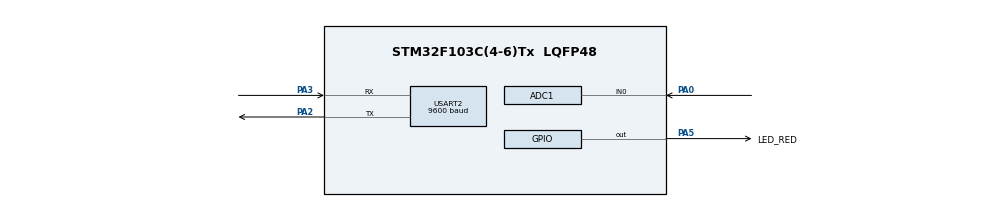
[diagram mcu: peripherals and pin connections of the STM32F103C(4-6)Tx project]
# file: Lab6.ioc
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ADC1.Channel-0\#ChannelRegularConversion=ADC_CHANNEL_0
ADC1.ContinuousConvMode=ENABLE
ADC1.NbrOfConversionFlag=1
ADC1.Rank-0\#ChannelRegularConversion=1
ADC1.SamplingTime-0\#ChannelRegularConversion=ADC_SAMPLETIME_1CYCLE_5
ADC1.master=1
Mcu.Family=STM32F1
Mcu.Name=STM32F103C(4-6)Tx
Mcu.Package=LQFP48
NVIC.PriorityGroup=NVIC_PRIORITYGROUP_4
NVIC.TIM2_IRQn=true\:0\:0\:false\:false\:true\:true\:true
NVIC.USART2_IRQn=true\:0\:0\:false\:false\:true\:true\:true
PA0-WKUP.Signal=ADCx_IN0
PA2.Mode=Asynchronous
PA2.Signal=USART2_TX
PA3.Mode=Asynchronous
PA3.Signal=USART2_RX
PA5.GPIO_Label=LED_RED
PA5.Signal=GPIO_Output
PD0-OSC_IN.Mode=HSE-External-Oscillator
PD0-OSC_IN.Signal=RCC_OSC_IN
PD1-OSC_OUT.Mode=HSE-External-Oscillator
PD1-OSC_OUT.Signal=RCC_OSC_OUT
ProjectManager.HeapSize=0x200
ProjectManager.StackSize=0x400
ProjectManager.TargetToolchain=STM32CubeIDE
RCC.APB1Freq_Value=8000000
RCC.APB2Freq_Value=8000000
SH.ADCx_IN0.0=ADC1_IN0,IN0
TIM2.Period=99
TIM2.Prescaler=799
USART2.BaudRate=9600
USART2.VirtualMode=VM_ASYNC
VP_SYS_VS_ND.Mode=No_Debug
VP_TIM2_VS_ClockSourceINT.Mode=Internal
board=custom

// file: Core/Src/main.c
/* USER CODE BEGIN Header */
/**
  ******************************************************************************
  * @file           : main.c
  * @brief          : Main program body
  ******************************************************************************
  * @attention
  *
  * <h2><center>&copy; Copyright (c) 2021 STMicroelectronics.
  * All rights reserved.</center></h2>
  *
  * This software component is licensed by ST under BSD 3-Clause license,
  * the "License"; You may not use this file except in compliance with the
  * License. You may obtain a copy of the License at:
  *                        opensource.org/licenses/BSD-3-Clause
  *
  ******************************************************************************
  */
/* USER CODE END Header */
#include "main.h"

/* USER CODE BEGIN Includes */
#include "timer.h"
#include "command_parser.h"
#include "uart_communication.h"
/* USER CODE END Includes */

/* USER CODE BEGIN PD */
#define MAX_BUFFER_SIZE	30
/* USER CODE END PD */

ADC_HandleTypeDef hadc1;

TIM_HandleTypeDef htim2;

UART_HandleTypeDef huart2;

void SystemClock_Config(void);
static void MX_GPIO_Init(void);
static void MX_TIM2_Init(void);
static void MX_ADC1_Init(void);
static void MX_USART2_UART_Init(void);

/* USER CODE BEGIN 0 */

uint8_t sendData[] = "Hello\r\n";
uint8_t	endline[] = "\r\n";
uint32_t adcValue = 0;
uint8_t	receiveBuffer = 0;

uint8_t temp = 0; //1 byte
uint8_t buffer[MAX_BUFFER_SIZE];
uint8_t index_buffer = 0;
uint8_t buffer_flag = 0;
void HAL_UART_RxCpltCallback(UART_HandleTypeDef *huart){

	if (huart->Instance == USART2) {
		//TODO HERE
		//gui nguoc lai len terminal
		HAL_UART_Transmit(huart, &temp, 1, 50);
		buffer[index_buffer++] = temp;
		if (index_buffer == MAX_BUFFER_SIZE) index_buffer = 0;
		buffer_flag = 1;

		//ENABLE LAI INTERRUPT
		HAL_UART_Receive_IT(&huart2, &temp, 1);
	}

}

/* USER CODE END 0 */

int main(void)
{

  /* MCU Configuration--------------------------------------------------------*/

  /* Reset of all peripherals, Initializes the Flash interface and the Systick. */
  HAL_Init();

  /* Configure the system clock */
  SystemClock_Config();

  /* Initialize all configured peripherals */
  MX_GPIO_Init();
  MX_TIM2_Init();
  MX_ADC1_Init();
  MX_USART2_UART_Init();
  /* USER CODE BEGIN 2 */
  HAL_TIM_Base_Start_IT(&htim2);
  HAL_ADC_Start(&hadc1);
  /* USER CODE END 2 */

  /* Infinite loop */
  /* USER CODE BEGIN WHILE */
  //phai dat truoc while 1. no se cho, khi co tin hieu, no se vao ham callback
  //sau do goi lai receive IT de ngat lan nua.
  HAL_UART_Receive_IT(&huart2, &temp, 1);
  initTimer(1);
  initTimer(0);
  while (1)
  {
	  //lay tra tri ADC bang ham HAL_ADC_GetValue(). ham nay tra ve 1 unin32_t
	  //de su dung ham nay, phai init ADC.
//	  adcValue = HAL_ADC_GetValue(&hadc1);
//	  //https://fresh2refresh.com/c-programming/c-type-casting/c-itoa-function/
//	  //dung itoa de chuyen integer sang char array
//	  itoa(adcValue, buffer, 10);
//	  HAL_UART_Transmit(&huart2, sendData, sizeof(sendData), sizeof(sendData) * 10);
//	  HAL_UART_Transmit(&huart2, buffer, sizeof(buffer), sizeof(buffer) * 10);
//	  HAL_UART_Transmit(&huart2, endline, sizeof(endline), sizeof(endline) * 10);
//
//	  //dung cai nay tot hon.
//	  HAL_UART_Transmit(&huart2, (void *)str, sprintf(str, "%d\n", adcValue), 1000);
//	  HAL_UART_Transmit(&huart2, endline, sizeof(endline), sizeof(endline) * 10);
//	  HAL_Delay(2000);
	  if (getTimerFlag(1) == 1) {
		  HAL_GPIO_TogglePin(LED_RED_GPIO_Port, LED_RED_Pin);
		  setTimer(1, 1000);
	  }
	  if (buffer_flag == 1) {
		  command_parser_fsm(buffer, index_buffer);
		  buffer_flag = 0;
	  }

	  uart_communication_fsm();

    /* USER CODE END WHILE */

  }
}

void SystemClock_Config(void)
{
  RCC_OscInitTypeDef RCC_OscInitStruct = {0};
  RCC_ClkInitTypeDef RCC_ClkInitStruct = {0};
  RCC_PeriphCLKInitTypeDef PeriphClkInit = {0};

  /** Initializes the RCC Oscillators according to the specified parameters
  * in the RCC_OscInitTypeDef structure.
  */
  RCC_OscInitStruct.OscillatorType = RCC_OSCILLATORTYPE_HSI;
  RCC_OscInitStruct.HSIState = RCC_HSI_ON;
  RCC_OscInitStruct.HSICalibrationValue = RCC_HSICALIBRATION_DEFAULT;
  RCC_OscInitStruct.PLL.PLLState = RCC_PLL_NONE;
  if (HAL_RCC_OscConfig(&RCC_OscInitStruct) != HAL_OK)
  {
    Error_Handler();
  }
  /** Initializes the CPU, AHB and APB buses clocks
  */
  RCC_ClkInitStruct.ClockType = RCC_CLOCKTYPE_HCLK|RCC_CLOCKTYPE_SYSCLK
                              |RCC_CLOCKTYPE_PCLK1|RCC_CLOCKTYPE_PCLK2;
  RCC_ClkInitStruct.SYSCLKSource = RCC_SYSCLKSOURCE_HSI;
  RCC_ClkInitStruct.AHBCLKDivider = RCC_SYSCLK_DIV1;
  RCC_ClkInitStruct.APB1CLKDivider = RCC_HCLK_DIV1;
  RCC_ClkInitStruct.APB2CLKDivider = RCC_HCLK_DIV1;

  if (HAL_RCC_ClockConfig(&RCC_ClkInitStruct, FLASH_LATENCY_0) != HAL_OK)
  {
    Error_Handler();
  }
  PeriphClkInit.PeriphClockSelection = RCC_PERIPHCLK_ADC;
  PeriphClkInit.AdcClockSelection = RCC_ADCPCLK2_DIV2;
  if (HAL_RCCEx_PeriphCLKConfig(&PeriphClkInit) != HAL_OK)
  {
    Error_Handler();
  }
}

static void MX_ADC1_Init(void)
{

  ADC_ChannelConfTypeDef sConfig = {0};

  /** Common config
  */
  hadc1.Instance = ADC1;
  hadc1.Init.ScanConvMode = ADC_SCAN_DISABLE;
  hadc1.Init.ContinuousConvMode = ENABLE;
  hadc1.Init.DiscontinuousConvMode = DISABLE;
  hadc1.Init.ExternalTrigConv = ADC_SOFTWARE_START;
  hadc1.Init.DataAlign = ADC_DATAALIGN_RIGHT;
  hadc1.Init.NbrOfConversion = 1;
  if (HAL_ADC_Init(&hadc1) != HAL_OK)
  {
    Error_Handler();
  }
  /** Configure Regular Channel
  */
  sConfig.Channel = ADC_CHANNEL_0;
  sConfig.Rank = ADC_REGULAR_RANK_1;
  sConfig.SamplingTime = ADC_SAMPLETIME_1CYCLE_5;
  if (HAL_ADC_ConfigChannel(&hadc1, &sConfig) != HAL_OK)
  {
    Error_Handler();
  }

}

static void MX_TIM2_Init(void)
{

  TIM_ClockConfigTypeDef sClockSourceConfig = {0};
  TIM_MasterConfigTypeDef sMasterConfig = {0};

  htim2.Instance = TIM2;
  htim2.Init.Prescaler = 799;
  htim2.Init.CounterMode = TIM_COUNTERMODE_UP;
  htim2.Init.Period = 99;
  htim2.Init.ClockDivision = TIM_CLOCKDIVISION_DIV1;
  htim2.Init.AutoReloadPreload = TIM_AUTORELOAD_PRELOAD_DISABLE;
  if (HAL_TIM_Base_Init(&htim2) != HAL_OK)
  {
    Error_Handler();
  }
  sClockSourceConfig.ClockSource = TIM_CLOCKSOURCE_INTERNAL;
  if (HAL_TIM_ConfigClockSource(&htim2, &sClockSourceConfig) != HAL_OK)
  {
    Error_Handler();
  }
  sMasterConfig.MasterOutputTrigger = TIM_TRGO_RESET;
  sMasterConfig.MasterSlaveMode = TIM_MASTERSLAVEMODE_DISABLE;
  if (HAL_TIMEx_MasterConfigSynchronization(&htim2, &sMasterConfig) != HAL_OK)
  {
    Error_Handler();
  }

}

static void MX_USART2_UART_Init(void)
{

  huart2.Instance = USART2;
  huart2.Init.BaudRate = 9600;
  huart2.Init.WordLength = UART_WORDLENGTH_8B;
  huart2.Init.StopBits = UART_STOPBITS_1;
  huart2.Init.Parity = UART_PARITY_NONE;
  huart2.Init.Mode = UART_MODE_TX_RX;
  huart2.Init.HwFlowCtl = UART_HWCONTROL_NONE;
  huart2.Init.OverSampling = UART_OVERSAMPLING_16;
  if (HAL_UART_Init(&huart2) != HAL_OK)
  {
    Error_Handler();
  }

}

static void MX_GPIO_Init(void)
{
  GPIO_InitTypeDef GPIO_InitStruct = {0};

  /* GPIO Ports Clock Enable */
  __HAL_RCC_GPIOD_CLK_ENABLE();
  __HAL_RCC_GPIOA_CLK_ENABLE();

  /*Configure GPIO pin Output Level */
  HAL_GPIO_WritePin(LED_RED_GPIO_Port, LED_RED_Pin, GPIO_PIN_RESET);

  /*Configure GPIO pin : LED_RED_Pin */
  GPIO_InitStruct.Pin = LED_RED_Pin;
  GPIO_InitStruct.Mode = GPIO_MODE_OUTPUT_PP;
  GPIO_InitStruct.Pull = GPIO_NOPULL;
  GPIO_InitStruct.Speed = GPIO_SPEED_FREQ_LOW;
  HAL_GPIO_Init(LED_RED_GPIO_Port, &GPIO_InitStruct);

}

/* USER CODE BEGIN 4 */

void HAL_TIM_PeriodElapsedCallback(TIM_HandleTypeDef *htim) {
	if (htim->Instance == TIM2) {
		timer_run(0);
		timer_run(1);
		timer_run(2);
	}
}
/* USER CODE END 4 */

void Error_Handler(void)
{
  __disable_irq();
  while (1)
  {
  }
}

/************************ (C) COPYRIGHT STMicroelectronics *****END OF FILE****/
